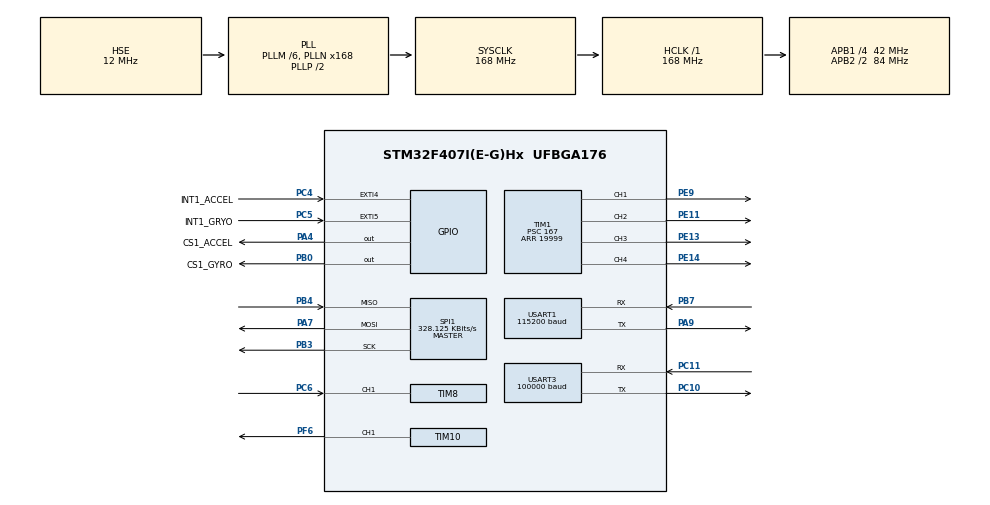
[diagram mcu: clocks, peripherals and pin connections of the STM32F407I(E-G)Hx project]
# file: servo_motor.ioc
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Dma.Request0=SPI1_RX
Dma.Request1=SPI1_TX
Dma.Request2=USART1_TX
Dma.Request3=USART3_RX
Dma.Request4=USART1_RX
Dma.SPI1_RX.0.Direction=DMA_PERIPH_TO_MEMORY
Dma.SPI1_RX.0.FIFOMode=DMA_FIFOMODE_DISABLE
Dma.SPI1_RX.0.Instance=DMA2_Stream2
Dma.SPI1_RX.0.MemDataAlignment=DMA_MDATAALIGN_BYTE
Dma.SPI1_RX.0.MemInc=DMA_MINC_ENABLE
Dma.SPI1_RX.0.Mode=DMA_NORMAL
Dma.SPI1_RX.0.PeriphDataAlignment=DMA_PDATAALIGN_BYTE
Dma.SPI1_RX.0.PeriphInc=DMA_PINC_DISABLE
Dma.SPI1_RX.0.Priority=DMA_PRIORITY_VERY_HIGH
Dma.SPI1_TX.1.Direction=DMA_MEMORY_TO_PERIPH
Dma.SPI1_TX.1.FIFOMode=DMA_FIFOMODE_DISABLE
Dma.SPI1_TX.1.Instance=DMA2_Stream3
Dma.SPI1_TX.1.MemDataAlignment=DMA_MDATAALIGN_BYTE
Dma.SPI1_TX.1.MemInc=DMA_MINC_ENABLE
Dma.SPI1_TX.1.Mode=DMA_NORMAL
Dma.SPI1_TX.1.PeriphDataAlignment=DMA_PDATAALIGN_BYTE
Dma.SPI1_TX.1.PeriphInc=DMA_PINC_DISABLE
Dma.SPI1_TX.1.Priority=DMA_PRIORITY_HIGH
Dma.USART1_RX.4.Direction=DMA_PERIPH_TO_MEMORY
Dma.USART1_RX.4.FIFOMode=DMA_FIFOMODE_DISABLE
Dma.USART1_RX.4.Instance=DMA2_Stream5
Dma.USART1_RX.4.MemDataAlignment=DMA_MDATAALIGN_BYTE
Dma.USART1_RX.4.MemInc=DMA_MINC_ENABLE
Dma.USART1_RX.4.Mode=DMA_NORMAL
Dma.USART1_RX.4.PeriphDataAlignment=DMA_PDATAALIGN_BYTE
Dma.USART1_RX.4.PeriphInc=DMA_PINC_DISABLE
Dma.USART1_RX.4.Priority=DMA_PRIORITY_VERY_HIGH
Dma.USART1_TX.2.Direction=DMA_MEMORY_TO_PERIPH
Dma.USART1_TX.2.FIFOMode=DMA_FIFOMODE_DISABLE
Dma.USART1_TX.2.Instance=DMA2_Stream7
Dma.USART1_TX.2.MemDataAlignment=DMA_MDATAALIGN_BYTE
Dma.USART1_TX.2.MemInc=DMA_MINC_ENABLE
Dma.USART1_TX.2.Mode=DMA_NORMAL
Dma.USART1_TX.2.PeriphDataAlignment=DMA_PDATAALIGN_BYTE
Dma.USART1_TX.2.PeriphInc=DMA_PINC_DISABLE
Dma.USART1_TX.2.Priority=DMA_PRIORITY_VERY_HIGH
Dma.USART3_RX.3.Direction=DMA_PERIPH_TO_MEMORY
Dma.USART3_RX.3.FIFOMode=DMA_FIFOMODE_DISABLE
Dma.USART3_RX.3.Instance=DMA1_Stream1
Dma.USART3_RX.3.MemDataAlignment=DMA_MDATAALIGN_BYTE
Dma.USART3_RX.3.MemInc=DMA_MINC_ENABLE
Dma.USART3_RX.3.Mode=DMA_NORMAL
Dma.USART3_RX.3.PeriphDataAlignment=DMA_PDATAALIGN_BYTE
Dma.USART3_RX.3.PeriphInc=DMA_PINC_DISABLE
Dma.USART3_RX.3.Priority=DMA_PRIORITY_HIGH
Mcu.Family=STM32F4
Mcu.Name=STM32F407I(E-G)Hx
Mcu.Package=UFBGA176
NVIC.DMA1_Stream1_IRQn=true\:0\:0\:false\:false\:true\:false\:true
NVIC.DMA2_Stream2_IRQn=true\:0\:0\:true\:false\:false\:false\:false
NVIC.DMA2_Stream3_IRQn=true\:0\:0\:false\:false\:false\:false\:false
NVIC.DMA2_Stream5_IRQn=true\:0\:0\:false\:false\:true\:false\:true
NVIC.DMA2_Stream7_IRQn=true\:0\:0\:false\:false\:true\:false\:true
NVIC.EXTI4_IRQn=true\:0\:0\:false\:false\:true\:true\:true
NVIC.EXTI9_5_IRQn=true\:0\:0\:false\:false\:true\:true\:true
NVIC.PriorityGroup=NVIC_PRIORITYGROUP_4
NVIC.TIM8_CC_IRQn=true\:0\:0\:false\:false\:true\:true\:true
NVIC.USART1_IRQn=true\:0\:0\:false\:false\:true\:true\:true
NVIC.USART3_IRQn=true\:2\:0\:true\:false\:true\:true\:true
PA13.Mode=Serial_Wire
PA13.Signal=SYS_JTMS-SWDIO
PA14.Mode=Serial_Wire
PA14.Signal=SYS_JTCK-SWCLK
PA4.GPIO_Label=CS1_ACCEL
PA4.GPIO_ModeDefaultOutputPP=GPIO_MODE_OUTPUT_PP
PA4.GPIO_PuPd=GPIO_PULLUP
PA4.GPIO_Speed=GPIO_SPEED_FREQ_HIGH
PA4.PinState=GPIO_PIN_SET
PA4.Signal=GPIO_Output
PA7.Mode=Full_Duplex_Master
PA7.Signal=SPI1_MOSI
PA9.Mode=Asynchronous
PA9.Signal=USART1_TX
PB0.GPIO_Label=CS1_GYRO
PB0.GPIO_PuPd=GPIO_PULLUP
PB0.GPIO_Speed=GPIO_SPEED_FREQ_HIGH
PB0.PinState=GPIO_PIN_SET
PB0.Signal=GPIO_Output
PB3.Mode=Full_Duplex_Master
PB3.Signal=SPI1_SCK
PB4.Mode=Full_Duplex_Master
PB4.Signal=SPI1_MISO
PB7.Mode=Asynchronous
PB7.Signal=USART1_RX
PC10.Mode=Asynchronous
PC10.Signal=USART3_TX
PC11.Mode=Asynchronous
PC11.Signal=USART3_RX
PC4.GPIO_Label=INT1_ACCEL
PC4.GPIO_ModeDefaultEXTI=GPIO_MODE_IT_FALLING
PC4.GPIO_PuPd=GPIO_PULLUP
PC4.Signal=GPXTI4
PC5.GPIO_Label=INT1_GRYO
PC5.GPIO_ModeDefaultEXTI=GPIO_MODE_IT_FALLING
PC5.GPIO_PuPd=GPIO_PULLUP
PC5.Signal=GPXTI5
PC6.GPIO_PuPd=GPIO_PULLUP
PC6.GPIO_Speed=GPIO_SPEED_FREQ_HIGH
PC6.Signal=S_TIM8_CH1
PE11.GPIO_PuPd=GPIO_PULLUP
PE11.GPIO_Speed=GPIO_SPEED_FREQ_HIGH
PE11.Signal=S_TIM1_CH2
PE13.GPIO_PuPd=GPIO_PULLUP
PE13.GPIO_Speed=GPIO_SPEED_FREQ_HIGH
PE13.Signal=S_TIM1_CH3
PE14.GPIO_PuPd=GPIO_PULLUP
PE14.GPIO_Speed=GPIO_SPEED_FREQ_HIGH
PE14.Signal=S_TIM1_CH4
PE9.GPIO_PuPd=GPIO_PULLUP
PE9.GPIO_Speed=GPIO_SPEED_FREQ_HIGH
PE9.Signal=S_TIM1_CH1
PF6.GPIO_PuPd=GPIO_PULLUP
PF6.GPIO_Speed=GPIO_SPEED_FREQ_HIGH
PF6.Signal=S_TIM10_CH1
PH0-OSC_IN.Mode=HSE-External-Oscillator
PH0-OSC_IN.Signal=RCC_OSC_IN
PH1-OSC_OUT.Mode=HSE-External-Oscillator
PH1-OSC_OUT.Signal=RCC_OSC_OUT
PI7.GPIO_PuPd=GPIO_PULLUP
PI7.GPIO_Speed=GPIO_SPEED_FREQ_HIGH
PI7.Signal=S_TIM8_CH3
ProjectManager.HeapSize=0x2000
ProjectManager.StackSize=0x2000
ProjectManager.TargetToolchain=MDK-ARM V5
RCC.48MHZClocksFreq_Value=48000000
RCC.AHBFreq_Value=168000000
RCC.APB1CLKDivider=RCC_HCLK_DIV4
RCC.APB1Freq_Value=42000000
RCC.APB1TimFreq_Value=84000000
RCC.APB2CLKDivider=RCC_HCLK_DIV2
RCC.APB2Freq_Value=84000000
RCC.APB2TimFreq_Value=168000000
RCC.CortexFreq_Value=21000000
RCC.Cortex_Div=SYSTICK_CLKSOURCE_HCLK_DIV8
RCC.HCLKFreq_Value=168000000
RCC.HSE_VALUE=12000000
RCC.HSI_VALUE=16000000
RCC.LSE_VALUE=32768
RCC.PLLM=6
RCC.PLLN=168
RCC.PLLQ=7
RCC.PLLSourceVirtual=RCC_PLLSOURCE_HSE
RCC.RCC_RTC_Clock_SourceVirtual=RCC_RTCCLKSOURCE_HSE_DIV30
RCC.RCC_RTC_Clock_Source_FROM_HSE=RCC_RTCCLKSOURCE_HSE_DIV30
RCC.SYSCLKFreq_VALUE=168000000
RCC.SYSCLKSource=RCC_SYSCLKSOURCE_PLLCLK
RCC.VCOOutputFreq_Value=336000000
SH.S_TIM10_CH1.0=TIM10_CH1,PWM Generation1 CH1
SH.S_TIM1_CH1.0=TIM1_CH1,PWM Generation1 CH1
SH.S_TIM1_CH2.0=TIM1_CH2,PWM Generation2 CH2
SH.S_TIM1_CH3.0=TIM1_CH3,PWM Generation3 CH3
SH.S_TIM1_CH4.0=TIM1_CH4,PWM Generation4 CH4
SH.S_TIM8_CH1.0=TIM8_CH1,Input_Capture1_from_TI1
SH.S_TIM8_CH3.0=TIM8_CH3
SPI1.BaudRatePrescaler=SPI_BAUDRATEPRESCALER_256
SPI1.CLKPhase=SPI_PHASE_2EDGE
SPI1.CLKPolarity=SPI_POLARITY_HIGH
SPI1.CalculateBaudRate=328.125 KBits/s
SPI1.Direction=SPI_DIRECTION_2LINES
SPI1.Mode=SPI_MODE_MASTER
SPI1.VirtualType=VM_MASTER
TIM1.Channel-PWM\ Generation1\ CH1=TIM_CHANNEL_1
TIM1.Channel-PWM\ Generation2\ CH2=TIM_CHANNEL_2
TIM1.Channel-PWM\ Generation3\ CH3=TIM_CHANNEL_3
TIM1.Channel-PWM\ Generation4\ CH4=TIM_CHANNEL_4
TIM1.Period=19999
TIM1.Prescaler=167
TIM1.Pulse-PWM\ Generation1\ CH1=2000
TIM1.Pulse-PWM\ Generation2\ CH2=2000
TIM1.Pulse-PWM\ Generation3\ CH3=2000
TIM1.Pulse-PWM\ Generation4\ CH4=2000
TIM10.Channel=TIM_CHANNEL_1
TIM10.Period=4999
TIM8.Channel-Input_Capture1_from_TI1=TIM_CHANNEL_1
TIM8.Period=0xffff
TIM8.Prescaler=2564
USART1.BaudRate=115200
USART1.VirtualMode=VM_ASYNC
USART3.BaudRate=100000
USART3.Mode=MODE_RX
USART3.Parity=PARITY_EVEN
USART3.VirtualMode=VM_ASYNC
VP_TIM10_VS_ClockSourceINT.Mode=Enable_Timer
VP_TIM1_VS_ClockSourceINT.Mode=Internal
board=custom

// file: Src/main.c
/* USER CODE BEGIN Header */
/**
  ******************************************************************************
  * @file           : main.c
  * @brief          : Main program body
  ******************************************************************************
  * @attention
  *
  * <h2><center>&copy; Copyright (c) 2019 STMicroelectronics.
  * All rights reserved.</center></h2>
  *
  * This software component is licensed by ST under BSD 3-Clause license,
  * the "License"; You may not use this file except in compliance with the
  * License. You may obtain a copy of the License at:
  *                        opensource.org/licenses/BSD-3-Clause
  *
  ******************************************************************************
  */
/* USER CODE END Header */
#include "main.h"
#include "dma.h"
#include "spi.h"
#include "tim.h"
#include "usart.h"
#include "gpio.h"

/* USER CODE BEGIN Includes */
#include "bsp_usart.h"
#include <stdio.h>
#include <stdarg.h>
#include "string.h"
#include "BMI088driver.h"
#include "ANO.h"
#include "remote_control.h"
/* USER CODE END Includes */

/* USER CODE BEGIN PV */
JEFF_CLOCK jeff_clock = {0};
/* USER CODE END PV */

void SystemClock_Config(void);
/* USER CODE BEGIN PFP */

extern uint8_t receiveBuff;
//测试发送变量
short testSend1   =5000;
short testSend2   =2000;
short testSend3   =1000;
unsigned char testSend4 = 0x05;

//测试接收变量
int testRece1     =0;
int testRece2     =0;
unsigned char testRece3 = 0x00;

/* USER CODE END PFP */

/* USER CODE BEGIN 0 */

//I'd like to thank this author who did me such a huge favour in pwm capture.
//https://controllerstech.com/how-to-use-input-capture-in-stm32/
//for ANO, I learnt from this tutorial
//https://www.bilibili.com/video/BV1cJ411N7P4/?spm_id_from=333.788.videocard.6

//----------------------------IMU-----------------------------------------------------//
fp32 gyro[3], accel[3], temp;
//----------------------------IMU_END-----------------------------------------------------//

//--------------------------------------PERIODIC_CALLBACK_CLOCK----------------------------------------//
void clear_freq_100ms(void);

//--------------------------------------PERIODIC_CALLBACK_CLOCK----------------------------------------//

//-------------------------------------------------ANO--------------------------------------------------------------------------------------//

int trans_scale_gyro = 1e5;
int trans_scale_acce = 1e3;

#define BYTE0(dwTemp) (*( (char *)(&dwTemp)     ))
#define BYTE1(dwTemp) (*( (char *)(&dwTemp)+1     ))
#define BYTE2(dwTemp) (*( (char *)(&dwTemp)+2    ))
#define BYTE3(dwTemp) (*( (char *)(&dwTemp)+3    ))

//static uint8_t TxBuffer[256];
//static uint8_t TxCounter=0;
//static uint8_t count = 0;
//uint8_t Datatosend[100]; //int ANO
//void Uart1_Put_Buf(unsigned char *Datatosend, uint8_t data_num);
//void ANOINT(int16_t _a, int16_t _b, int32_t _c);

//unsigned int ANO
uint8_t testdatatosend[50];
void TestSendData(uint8_t *dataToSend, uint8_t length);
void Test_Send_User (int16_t data1, int16_t data2, int16_t data3,
					int16_t data4, int16_t data5, int16_t data6,
					int16_t data7,int16_t data8,int16_t data9,
					int16_t data10);

//-------------------------------------------ANO_END---------------------------------------//

//------------------------------------------DJI---------------------------------------------//
const RC_ctrl_t *local_rc_ctrl;
void usart_printf(const char *fmt,...)
{
    static uint8_t tx_buf[256] = {0};
    static va_list ap;
    static uint16_t len;
    va_start(ap, fmt);

    //return length of string
    //返回字符串长度
    len = vsprintf((char *)tx_buf, fmt, ap);

    va_end(ap);

    //usart1_tx_dma_enable(tx_buf, len);
	TestSendData(tx_buf, len);
}
//------------------------------------------DJI_END---------------------------------------------//

//testing
uint16_t cont1 =0;
uint8_t flip=0;
uint8_t times=0;
float t_pwm = 1600;
int16_t ref_hz = 0;

//capture freq
char str[12];
char str2[12];
float main_clock_freq = 168e6;
uint16_t psc_val = 2564;     ///range = 1hz to 13kHZ
uint16_t ARR_val = 0xffff;
float timer_counting_freq;
float IC_Value1=0.0;
float IC_Value2=0.0;
float Diff = 0.0;
float freq = 0.0;
float freq_prev = 0.0;
uint8_t Is_first_capture=0; //0-not captured, 1- captured

//pid part
float freq_to_m_rpm;
float motor_to_wheel;
float e_pre=0;
float e_now=0;
float delta_e=0;
float delta_t=1;  //This is changing, hard to capture?
float I_e=0;
int pid_scale = 1e5;
//float kp_raw=0.0001;
//float ki_raw=0.00005;
//float kd_raw=0.00001;
float kp_raw=10;
float ki_raw=5;
float kd_raw=1;
float kp;
float ki;
float kd;

void HAL_TIM_IC_CaptureCallback(TIM_HandleTypeDef *htim)

{

	if(htim->Channel == HAL_TIM_ACTIVE_CHANNEL_1) //If tim8 ch1 prompts an interrupt
	{
		if(Is_first_capture==0) //if first captured?
		{
			IC_Value1=HAL_TIM_ReadCapturedValue(htim,TIM_CHANNEL_1); //Read the timestamp
			Is_first_capture=1;
		}

		else if (Is_first_capture) //not the first capture
		{
			IC_Value2 = HAL_TIM_ReadCapturedValue(htim,TIM_CHANNEL_1); //Record the second capture
			if(IC_Value2 > IC_Value1)
								      /*
										Since we have adjusted psc to make sure
										the time difference between the two values are smaller
										than the time needed for counter to count from 0 to arr,
										then there are only two cases: IC2 and IC1 are on the same slope
										in which IC2 >ic1
										OR, IC2 and ic1 are on different slope in which ic2 MUST be smaller
										than ic1
										*/
			{
				Diff = IC_Value2 - IC_Value1;
			}
			else if(IC_Value2 < IC_Value1) //On different slope
			{
				Diff=((ARR_val-IC_Value1)+IC_Value2) +1; //i don't understand why plus 1;
			}
			else
			{
				Error_Handler();  //Built in hal func for which i have no idea what it is doing
			}
			//freq = (168e6/72)/Diff;
			freq = (timer_counting_freq)/Diff;
									/*
									//for psc = 72
									//168e6/72 is the freq of the timer, where 72 is the psc
									//168e6/72 gives how quick the counter is counting from 0 to ARR
									//So the timer counts every (72/168e6=4.2e-7) seconds and takes
									// 4.2e-7 *ARR(65536) = 0.028 seconds to reach ARR
									//So we need to make sure that the time difference between two
									//rising edge is within 0.028 seconds(as in this mode
									//when rising edge is detected and this function is called,
									// the current counting number will not be reset to zero)
									//otherwise the algo will fail
									//in other words, the minimum freq that we can detect
									// is (168e6/72)/ARR = 35.6 = 1/0.028
									//If the minimum freq required is even lower, we can adjust
									// the psc (72 here) to lower the mini detectable freq
									//The max detectable freq is the counting freq of the tim
									//or for a better precision 2 or 3 or 5times lower than
									// the couting freq of the tim
									//so here maxf = (168e6/72)/accurate_factor(5) = 466 kHz.
									//so detectable range is 35.6 to 466 khz

									//for psc = 2564  range = 1hz to 13kHZ
									//Might change to this psc in the future---- did --very good result
									*/

			Is_first_capture =0; //reset ready for next capture.
		}

	}
}

//void HAL_UART_RxCpltCallback(UART_HandleTypeDef *huart)
//{
//	if(huart->Instance==USART1)//如果是串口1
//	{
////		if((USART_RX_STA&0x8000)==0)//接收未完成
////		{
////			if(USART_RX_STA&0x4000)//接收到了0x0d
////			{
////				if(aRxBuffer[0]!=0x0a)USART_RX_STA=0;//接收错误,重新开始
////				else USART_RX_STA|=0x8000;	//接收完成了
////			}
////			else //还没收到0X0D
////			{
////				if(aRxBuffer[0]==0x0d)USART_RX_STA|=0x4000;
////				else
////				{
////					USART_RX_BUF[USART_RX_STA&0X3FFF]=aRxBuffer[0] ;
////					USART_RX_STA++;
////					if(USART_RX_STA>(USART_REC_LEN-1))USART_RX_STA=0;//接收数据错误,重新开始接收
////				}
////			}
////		}
//		usartReceiveOneData(&testRece1,&testRece2,&testRece3);
//
//
//	}
//}
/* USER CODE END 0 */

int main(void)
{

  /* MCU Configuration--------------------------------------------------------*/

  /* Reset of all peripherals, Initializes the Flash interface and the Systick. */
  HAL_Init();

  /* Configure the system clock */
  SystemClock_Config();

  /* Initialize all configured peripherals */
  MX_GPIO_Init();
  MX_DMA_Init();
  MX_TIM8_Init();
  MX_TIM1_Init();
  MX_USART1_UART_Init();
  MX_SPI1_Init();
  MX_TIM10_Init();
  MX_USART3_UART_Init();
  /* USER CODE BEGIN 2 */

  kp = kp_raw/pid_scale;
  ki = ki_raw/pid_scale;
  kd = kd_raw/pid_scale;
  //Init the IMU
  while(BMI088_init())
	{
		;
	}

  //DJI rc control
  remote_control_init();
  usart1_tx_dma_init();
  local_rc_ctrl = get_remote_control_point();

  //test receive
 uint8_t len_data = 0;

  //PWM
  HAL_TIM_Base_Start(&htim1);
  HAL_TIM_PWM_Start(&htim1, TIM_CHANNEL_1);
  HAL_TIM_PWM_Start(&htim1, TIM_CHANNEL_2);
  //HAL_TIM_PWM_Start(&htim1, TIM_CHANNEL_3);
  __HAL_TIM_SetCompare(&htim1, TIM_CHANNEL_1, 1500);
  __HAL_TIM_SetCompare(&htim1, TIM_CHANNEL_2, 1500);
  //Tim8 ch1 for capture
  HAL_TIM_IC_Start_IT(&htim8,TIM_CHANNEL_1);
  timer_counting_freq = main_clock_freq/psc_val;

  HAL_UART_Receive_IT(&huart1, (uint8_t *)aRxBuffer, RXBUFFERSIZE);//该函数会开启接收中断：标志位UART_IT_RXNE，并且设置接收缓冲以及接收缓冲接收最大数据量
  //HAL_UART_Receive_IT(&huart1, (uint8_t *)receiveBuff, 16);
  __HAL_UART_ENABLE_IT(&huart1,UART_IT_TC);
  HAL_Delay(3000);

  /* USER CODE END 2 */

  /* Infinite loop */
  /* USER CODE BEGIN WHILE */
  while (1)
  {

/*
//20ms ARR 20000
//1600 motor: low back , wheel small to left (driver view) ----- 1.6ms ----------never give motor value greater than 1500
//1400 motor: low forward, wheel small to left -------------------1.4ms

//wheel
//left max-----1800 ----1.8ms
//right max ---- 1100  --- 1.2ms

//motor
//1500 zero ----------------------1.5ms   ------- 0hz
//2000 max ------------------------2ms -- forward  ---- 753~761hz
//could be higher
//never put value smaller than 1500;

DJI_controller
	  ch1: motor  upmax 660  downmin -660
	  ch2: lefthand left-660 right +660
  */

/*
//---------------------------------------Old_print_func-------------------------------------------//

//		sprintf(str2, "%d", ref_hz);
//		sprintf(str, "%f", freq);
//
//		//HAL_UART_Transmit(&huart1, "Actual:", 12, 100);
//		HAL_UART_Transmit(&huart1, str, 12, 100);
//		HAL_UART_Transmit(&huart1, "    \r\n", 12, 100);
//
//		//HAL_UART_Transmit(&huart1, "ref:", 12, 100);
//		HAL_UART_Transmit(&huart1, str2, 12, 100);
//		HAL_UART_Transmit(&huart1, "    \r\n", 12, 100);
//---------------------------------------Old_print_func-------------------------------------------//
*/

/*
//-------------------------------------PID_adjust----------------------------------------------//
//	if(flip==0)
//	{
//		cont1 ++;
//		if (cont1 >100)
//			{
//				ref_hz +=600;
//				if(ref_hz<700)
//				{
//					ref_hz = ref_hz;
//				}
//				else
//				{
//					ref_hz =400;
//				}
//
//				times ++;
//
//				if(times >1)
//				{
//					flip=1;
//					times = 0;
//				}
//
//
//				cont1 = 0;
//			}
//
//	}
//
//	if(flip==1)
//	{
//		cont1 ++;
//		if (cont1 >100)
//			{
//				ref_hz -=600;
//				if(ref_hz<701 && ref_hz>200)
//				{
//					ref_hz = ref_hz;
//				}
//				else
//				{
//					ref_hz =200;
//				}
//
//				times ++;
//
//				if(times >1)
//				{
//					flip=0;
//					times = 0;
//				}
//
//				cont1 = 0;
//			}
//
//	}

//--------------------------------------------PID_adjust------------------------------------------------//
*/

//-------------------------------------PID----------------------------------------------------//
	ref_hz = local_rc_ctrl->rc.ch[1];  //ch0 : -660~+660   ref_hz: 0:700
	if(ref_hz<0)
	{
		ref_hz=0;
	}
	e_pre = e_now; // a possible bug here

	e_now = ref_hz - freq;  //positive means low speed, so kp is positive
	I_e += e_now;   //ki positive

	delta_e = (e_now - e_pre)/delta_t;   /// watch sign   ---- possible bugs here
	//if the gradient is increasing

	t_pwm = kp*e_now + ki*I_e + kd*delta_e;
	if(t_pwm>1.0)
	{
		t_pwm = 1.0;
	}
	if(t_pwm<-1.0) t_pwm=-1.0;

	t_pwm =1500 + t_pwm*500; //motor moves forward range: 1500 to 2000  (1.5ms to 2ms)
	if(t_pwm<1500) t_pwm=1500;
	if(t_pwm>2000) t_pwm=2000;

//-------------------------------------PID_END----------------------------------------------------//

//----------------------------------------Rc_control-----------------------------------------//
	/*
	//wheel
//left max-----1800 ----1.8ms
//right max ---- 1100  --- 1.2ms

//motor
//1500 zero ----------------------1.5ms   ------- 0hz
//2000 max ------------------------2ms -- forward  ---- 753~761hz
//could be higher
//never put value smaller than 1500;

DJI_controller
	  ch1: motor  upmax 660  downmin -660
	  ch2: lefthand left-660 right +660

	  local_rc_ctrl->rc.ch[0], local_rc_ctrl->rc.ch[1], local_rc_ctrl->rc.ch[2], local_rc_ctrl->rc.ch[3], local_rc_ctrl->rc.ch[4],
	*/

	float wheel = 1500 + 0.45*(-1)*local_rc_ctrl->rc.ch[2];  //so wheel -400 to +400

	__HAL_TIM_SetCompare(&htim1, TIM_CHANNEL_1, t_pwm);
	__HAL_TIM_SetCompare(&htim1, TIM_CHANNEL_2, wheel);
//----------------------------------------Rc_control_END-----------------------------------------//

//---------------------------------------IMU----------------------------------------------//
    BMI088_read(gyro, accel, &temp);
//---------------------------------------IMU_END----------------------------------------------//

//--------------------------------------ANO-----------------------------------------------//

	gyro[0] *= trans_scale_gyro;
	gyro[1] *= trans_scale_gyro;
	gyro[2] *= trans_scale_gyro;
	accel[0] *= trans_scale_acce;
	accel[1] *= trans_scale_acce;
	accel[2] *= trans_scale_acce;

	//Test_Send_User(ref_hz,freq,gyro[0],gyro[1],gyro[2],accel[0],accel[1],accel[2],temp,wheel);

//	usart_printf(
//"**********\r\n\
//ch0:%d\r\n\
//ch1:%d\r\n\
//ch2:%d\r\n\
//ch3:%d\r\n\
//ch4:%d\r\n\
//s1:%d\r\n\
//s2:%d\r\n\
//mouse_x:%d\r\n\
//mouse_y:%d\r\n\
//press_l:%d\r\n\
//press_r:%d\r\n\
//key:%d\r\n\
//**********\r\n",
//            local_rc_ctrl->rc.ch[0], local_rc_ctrl->rc.ch[1], local_rc_ctrl->rc.ch[2], local_rc_ctrl->rc.ch[3], local_rc_ctrl->rc.ch[4],
//            local_rc_ctrl->rc.s[0], local_rc_ctrl->rc.s[1],
//            local_rc_ctrl->mouse.x, local_rc_ctrl->mouse.y,local_rc_ctrl->mouse.z, local_rc_ctrl->mouse.press_l, local_rc_ctrl->mouse.press_r,
//            local_rc_ctrl->key.v);
//
//			HAL_Delay(20);
//--------------------------------------ANO-----------------------------------------------//

//--------------------------------------PERIODIC_CALLBACK_CLOCK----------------------------------------//
	//jeff_clock.tickstart=HAL_GetTick();//获取延时起始值
	//死循环比较，直到到达延时值，每次1ms，1000次为1s
	//http://www.mculover666.cn/posts/4283984198/
	if(HAL_GetTick() %20 == 0)  //once reach 100ms, clear the freq to zero
	{
		clear_freq_100ms();
	}

//--------------------------------------PERIODIC_CALLBACK_CLOCK----------------------------------------//

	//usartSendData(testRece1,testSend2,testSend3,testSend4);

//	if(USART_RX_STA&0x8000)
//		{
//			len_data=USART_RX_STA&0x3fff;//得到此次接收到的数据长度
//			//printf("\r\n您发送的消息为:\r\n");
//			//HAL_UART_Transmit(&huart1,(uint8_t*)USART_RX_BUF,len_data,1000);	//发送接收到的数据
//			while(__HAL_UART_GET_FLAG(&huart1,UART_FLAG_TC)!=SET);		//等待发送结束
//			//printf("\r\n\r\n");//插入换行
//			USART_RX_STA=0;
//		}

//	usartReceiveOneData(&testRece1,&testRece2,&testRece3);
//	usartSendData(testRece1,len_data,*USART_RX_BUF,testSend4);

	       if(USART_RX_STA&0x8000)
		{
			len_data=USART_RX_STA&0x3fff;//得到此次接收到的数据长度
			printf("\r\nThe msg you are sending is:\r\n");
			HAL_UART_Transmit(&huart1,(uint8_t*)USART_RX_BUF,len_data,1000);	//发送接收到的数据
			while(__HAL_UART_GET_FLAG(&huart1,UART_FLAG_TC)!=SET);		//等待发送结束
			printf("\r\n\r\n");//插入换行
			USART_RX_STA=0;
		}else
		{
			times++;
			if(times%5000==0)
			{
				printf("\r\nALIENTEK\r\n");
				printf("ALIENTEK\r\n\r\n\r\n");
			}
			if(times%2==0)printf("please input msg\r\n");
			//if(times%30==0)LED0=!LED0;//闪烁LED,提示系统正在运行.
			HAL_Delay(1000);
		}
	//HAL_Delay(10);
//while end scope
	}

    /* USER CODE END WHILE */

}

void SystemClock_Config(void)
{
  RCC_OscInitTypeDef RCC_OscInitStruct = {0};
  RCC_ClkInitTypeDef RCC_ClkInitStruct = {0};

  /** Configure the main internal regulator output voltage
  */
  __HAL_RCC_PWR_CLK_ENABLE();
  __HAL_PWR_VOLTAGESCALING_CONFIG(PWR_REGULATOR_VOLTAGE_SCALE1);
  /** Initializes the RCC Oscillators according to the specified parameters
  * in the RCC_OscInitTypeDef structure.
  */
  RCC_OscInitStruct.OscillatorType = RCC_OSCILLATORTYPE_HSE;
  RCC_OscInitStruct.HSEState = RCC_HSE_ON;
  RCC_OscInitStruct.PLL.PLLState = RCC_PLL_ON;
  RCC_OscInitStruct.PLL.PLLSource = RCC_PLLSOURCE_HSE;
  RCC_OscInitStruct.PLL.PLLM = 6;
  RCC_OscInitStruct.PLL.PLLN = 168;
  RCC_OscInitStruct.PLL.PLLP = RCC_PLLP_DIV2;
  RCC_OscInitStruct.PLL.PLLQ = 7;
  if (HAL_RCC_OscConfig(&RCC_OscInitStruct) != HAL_OK)
  {
    Error_Handler();
  }
  /** Initializes the CPU, AHB and APB buses clocks
  */
  RCC_ClkInitStruct.ClockType = RCC_CLOCKTYPE_HCLK|RCC_CLOCKTYPE_SYSCLK
                              |RCC_CLOCKTYPE_PCLK1|RCC_CLOCKTYPE_PCLK2;
  RCC_ClkInitStruct.SYSCLKSource = RCC_SYSCLKSOURCE_PLLCLK;
  RCC_ClkInitStruct.AHBCLKDivider = RCC_SYSCLK_DIV1;
  RCC_ClkInitStruct.APB1CLKDivider = RCC_HCLK_DIV4;
  RCC_ClkInitStruct.APB2CLKDivider = RCC_HCLK_DIV2;

  if (HAL_RCC_ClockConfig(&RCC_ClkInitStruct, FLASH_LATENCY_5) != HAL_OK)
  {
    Error_Handler();
  }
}

/* USER CODE BEGIN 4 */
//--------------------------------------ANO-----------------------------------------------//

///*
void TestSendData(uint8_t *dataToSend, uint8_t length)  //not using dma
{
	//HAL_UART_Transmit(&huart1,(uint8_t *)&testdatatosend, length, 0xffff); //not using dma
	HAL_UART_Transmit_DMA(&huart1,(uint8_t *)&testdatatosend,length);// dma is better

}

void Test_Send_User (int16_t data1, int16_t data2, int16_t data3,
					int16_t data4, int16_t data5, int16_t data6,
					int16_t data7,int16_t data8,int16_t data9,
					int16_t data10)
{
	uint8_t _cnt=0;
	testdatatosend[_cnt++]=0xAA; //head
	testdatatosend[_cnt++]=0x05;  //target address
	testdatatosend[_cnt++]=0xAF; //receriver add ??  these two are default -- don't need to change
	testdatatosend[_cnt++]=0xF1;  //function id --- just choice F1
	testdatatosend[_cnt++]=0;   // length of data --  set to zero for now

	testdatatosend[_cnt++]=BYTE1(data1);
	testdatatosend[_cnt++]=BYTE0(data1);

	testdatatosend[_cnt++]=BYTE1(data2);
	testdatatosend[_cnt++]=BYTE0(data2);

	testdatatosend[_cnt++]=BYTE1(data3);
	testdatatosend[_cnt++]=BYTE0(data3);

	testdatatosend[_cnt++]=BYTE1(data4);
	testdatatosend[_cnt++]=BYTE0(data4);

	testdatatosend[_cnt++]=BYTE1(data5);
	testdatatosend[_cnt++]=BYTE0(data5);

	testdatatosend[_cnt++]=BYTE1(data6);
	testdatatosend[_cnt++]=BYTE0(data6);

	testdatatosend[_cnt++]=BYTE1(data7);
	testdatatosend[_cnt++]=BYTE0(data7);

	testdatatosend[_cnt++]=BYTE1(data8);
	testdatatosend[_cnt++]=BYTE0(data8);

	testdatatosend[_cnt++]=BYTE1(data9);
	testdatatosend[_cnt++]=BYTE0(data9);

	testdatatosend[_cnt++]=BYTE1(data10);
	testdatatosend[_cnt++]=BYTE0(data10);

	testdatatosend[4] = _cnt - 5;    //the fifth bit [4] stores the length of data, we set this to zero initially, now we need to calculate
									//_cnt stores the length of the whole signal up till now, we minus 5(the first five bits eg header, target address balalla to get the length of data
									//see
									//https://www.bilibili.com/video/BV1TJ411r7a3?from=search&seid=16506637512618591906
									//

	uint8_t sum = 0;

	for(uint8_t i=0; i<_cnt; i++)
		sum += testdatatosend[i];

	testdatatosend[_cnt++]=sum;   //sum is the sum check bits, the last bits in the signal

	TestSendData(testdatatosend, _cnt);  //using dma
	//HAL_UART_Transmit_DMA(&huart1,testdatatosend,_cnt);
	//usart1_tx_dma_enable(testdatatosend,_cnt); //use dma
}
//*/

//--------------------------------------ANO_END-----------------------------------------------//

//--------------------------------------PERIODIC_CALLBACK_CLOCK----------------------------------------//
void clear_freq_100ms(void)
{
	freq =0.0;
}

//--------------------------------------PERIODIC_CALLBACK_CLOCK----------------------------------------//

/* USER CODE END 4 */

void Error_Handler(void)
{
}

/************************ (C) COPYRIGHT STMicroelectronics *****END OF FILE****/
